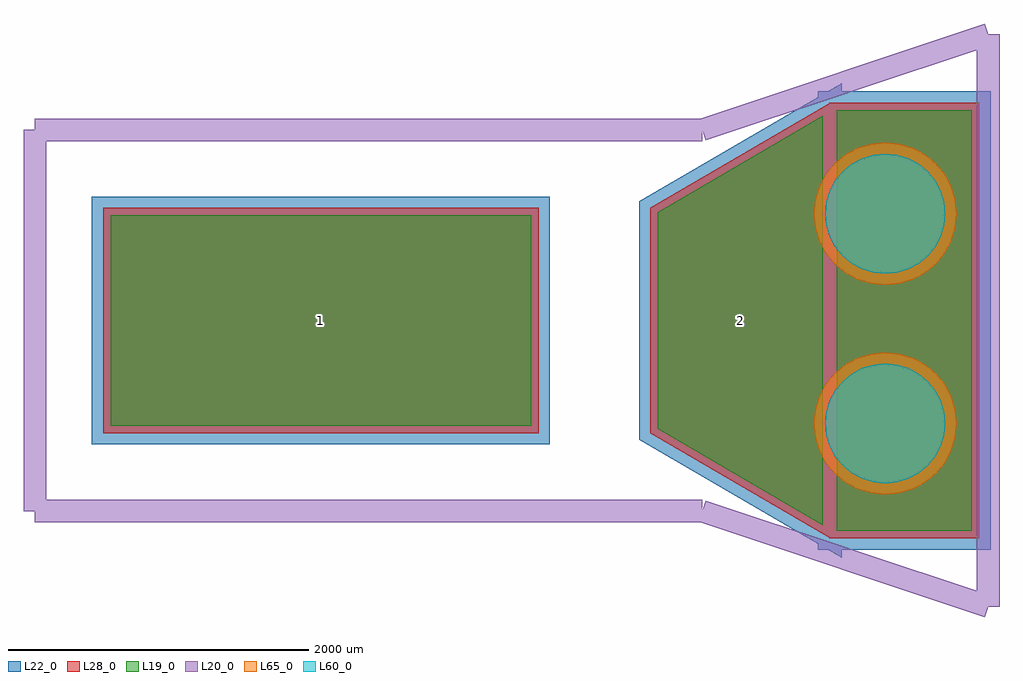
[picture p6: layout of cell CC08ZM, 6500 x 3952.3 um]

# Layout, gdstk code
import gdstk
lib = gdstk.Library(unit=1e-6, precision=1e-09)
def R(c, l, rs):  # rectangles x0, y0, x1, y1
    for r in rs: c.add(gdstk.rectangle(r[:2], r[2:], *l))
def P(c, l, *ps):  # polygons
    for p in ps: c.add(gdstk.Polygon(p, *l))
L19_0 = (19, 0)
L20_0 = (20, 0)
L22_0 = (22, 0)
L28_0 = (28, 0)
L60_0 = (60, 0)
L65_0 = (65, 0)

cc08zm = lib.new_cell('CC08ZM')
R(cc08zm, L19_0, [(895.82,-1400.34,1796.58,1400.34), (-3940.34,-700.57,-1139.66,700.57)])
P(cc08zm, L19_0, [(-295.44,-721.834),(-295.44,721.834),(803.44,1362.071),(803.44,-1362.071)])
R(cc08zm, L22_0, [(770.82,-1525.34,1921.58,1525.34), (-4065.34,-825.57,-1014.66,825.57)])
P(cc08zm, L22_0, [(1694.25,-685.8),(1685.122,-593.122),(1658.089,-504.006),(1614.19,-421.876),(1555.111,-349.889),(1483.124,-290.81),(1400.994,-246.911),(1311.878,-219.878),(1219.2,-210.75),(1126.522,-219.878),(1037.406,-246.911),(955.276,-290.81),(883.289,-349.889),(824.21,-421.876),(780.311,-504.006),(753.278,-593.122),(744.15,-685.8),(753.278,-778.478),(780.311,-867.594),(824.21,-949.724),(883.289,-1021.711),(955.276,-1080.79),(1037.406,-1124.689),(1126.522,-1151.722),(1219.2,-1160.85),(1311.878,-1151.722),(1400.994,-1124.689),(1483.124,-1080.79),(1555.111,-1021.711),(1614.19,-949.724),(1658.089,-867.594),(1685.122,-778.478)],
  [(1694.25,711.2),(1685.122,803.878),(1658.089,892.994),(1614.19,975.124),(1555.111,1047.111),(1483.124,1106.19),(1400.994,1150.089),(1311.878,1177.122),(1219.2,1186.25),(1126.522,1177.122),(1037.406,1150.089),(955.276,1106.19),(883.289,1047.111),(824.21,975.124),(780.311,892.994),(753.278,803.878),(744.15,711.2),(753.278,618.522),(780.311,529.406),(824.21,447.276),(883.289,375.289),(955.276,316.21),(1037.406,272.311),(1126.522,245.278),(1219.2,236.15),(1311.878,245.278),(1400.994,272.311),(1483.124,316.21),(1555.111,375.289),(1614.19,447.276),(1658.089,529.406),(1685.122,618.522)],
  [(-420.44,-793.674),(-420.44,793.674),(928.44,1579.568),(928.44,-1579.568)])
R(cc08zm, L28_0, [(845.82,-1450.34,1846.58,1450.34), (-3990.34,-750.57,-1089.66,750.57)])
P(cc08zm, L28_0, [(1619.25,-685.8),(1611.563,-607.754),(1588.798,-532.707),(1551.829,-463.544),(1502.078,-402.922),(1441.456,-353.171),(1372.293,-316.202),(1297.246,-293.437),(1219.2,-285.75),(1141.154,-293.437),(1066.107,-316.202),(996.944,-353.171),(936.322,-402.922),(886.571,-463.544),(849.602,-532.707),(826.837,-607.754),(819.15,-685.8),(826.837,-763.846),(849.602,-838.893),(886.571,-908.056),(936.322,-968.678),(996.944,-1018.429),(1066.107,-1055.398),(1141.154,-1078.163),(1219.2,-1085.85),(1297.246,-1078.163),(1372.293,-1055.398),(1441.456,-1018.429),(1502.078,-968.678),(1551.829,-908.056),(1588.798,-838.893),(1611.563,-763.846)],
  [(1619.25,711.2),(1611.563,789.246),(1588.798,864.293),(1551.829,933.456),(1502.078,994.078),(1441.456,1043.829),(1372.293,1080.798),(1297.246,1103.563),(1219.2,1111.25),(1141.154,1103.563),(1066.107,1080.798),(996.944,1043.829),(936.322,994.078),(886.571,933.456),(849.602,864.293),(826.837,789.246),(819.15,711.2),(826.837,633.154),(849.602,558.107),(886.571,488.944),(936.322,428.322),(996.944,378.571),(1066.107,341.602),(1141.154,318.837),(1219.2,311.15),(1297.246,318.837),(1372.293,341.602),(1441.456,378.571),(1502.078,428.322),(1551.829,488.944),(1588.798,558.107),(1611.563,633.154)],
  [(-345.44,-750.57),(-345.44,750.57),(853.44,1449.07),(853.44,-1449.07)])
P(cc08zm, L60_0, [(1619.25,-685.8),(1611.563,-607.754),(1588.798,-532.707),(1551.829,-463.544),(1502.078,-402.922),(1441.456,-353.171),(1372.293,-316.202),(1297.246,-293.437),(1219.2,-285.75),(1141.154,-293.437),(1066.107,-316.202),(996.944,-353.171),(936.322,-402.922),(886.571,-463.544),(849.602,-532.707),(826.837,-607.754),(819.15,-685.8),(826.837,-763.846),(849.602,-838.893),(886.571,-908.056),(936.322,-968.678),(996.944,-1018.429),(1066.107,-1055.398),(1141.154,-1078.163),(1219.2,-1085.85),(1297.246,-1078.163),(1372.293,-1055.398),(1441.456,-1018.429),(1502.078,-968.678),(1551.829,-908.056),(1588.798,-838.893),(1611.563,-763.846)],
  [(1619.25,711.2),(1611.563,789.246),(1588.798,864.293),(1551.829,933.456),(1502.078,994.078),(1441.456,1043.829),(1372.293,1080.798),(1297.246,1103.563),(1219.2,1111.25),(1141.154,1103.563),(1066.107,1080.798),(996.944,1043.829),(936.322,994.078),(886.571,933.456),(849.602,864.293),(826.837,789.246),(819.15,711.2),(826.837,633.154),(849.602,558.107),(886.571,488.944),(936.322,428.322),(996.944,378.571),(1066.107,341.602),(1141.154,318.837),(1219.2,311.15),(1297.246,318.837),(1372.293,341.602),(1441.456,378.571),(1502.078,428.322),(1551.829,488.944),(1588.798,558.107),(1611.563,633.154)])
P(cc08zm, L65_0, [(1694.25,-685.8),(1685.122,-593.122),(1658.089,-504.006),(1614.19,-421.876),(1555.111,-349.889),(1483.124,-290.81),(1400.994,-246.911),(1311.878,-219.878),(1219.2,-210.75),(1126.522,-219.878),(1037.406,-246.911),(955.276,-290.81),(883.289,-349.889),(824.21,-421.876),(780.311,-504.006),(753.278,-593.122),(744.15,-685.8),(753.278,-778.478),(780.311,-867.594),(824.21,-949.724),(883.289,-1021.711),(955.276,-1080.79),(1037.406,-1124.689),(1126.522,-1151.722),(1219.2,-1160.85),(1311.878,-1151.722),(1400.994,-1124.689),(1483.124,-1080.79),(1555.111,-1021.711),(1614.19,-949.724),(1658.089,-867.594),(1685.122,-778.478)],
  [(1694.25,711.2),(1685.122,803.878),(1658.089,892.994),(1614.19,975.124),(1555.111,1047.111),(1483.124,1106.19),(1400.994,1150.089),(1311.878,1177.122),(1219.2,1186.25),(1126.522,1177.122),(1037.406,1150.089),(955.276,1106.19),(883.289,1047.111),(824.21,975.124),(780.311,892.994),(753.278,803.878),(744.15,711.2),(753.278,618.522),(780.311,529.406),(824.21,447.276),(883.289,375.289),(955.276,316.21),(1037.406,272.311),(1126.522,245.278),(1219.2,236.15),(1311.878,245.278),(1400.994,272.311),(1483.124,316.21),(1555.111,375.289),(1614.19,447.276),(1658.089,529.406),(1685.122,618.522)])
cc08zm.add(gdstk.FlexPath([(-4445,1270),(0,1270)], 149.998, ends="flush", simple_path=True, layer=20, datatype=0))  # L20_0
cc08zm.add(gdstk.FlexPath([(-4445,-1270),(0,-1270)], 149.998, ends="flush", simple_path=True, layer=20, datatype=0))  # L20_0
cc08zm.add(gdstk.FlexPath([(1905,-1905),(0,-1270)], 149.998, ends="flush", simple_path=True, layer=20, datatype=0))  # L20_0
cc08zm.add(gdstk.FlexPath([(1905,1905),(1905,-1905)], 149.998, ends="flush", simple_path=True, layer=20, datatype=0))  # L20_0
cc08zm.add(gdstk.FlexPath([(0,1270),(1905,1905)], 149.998, ends="flush", simple_path=True, layer=20, datatype=0))  # L20_0
cc08zm.add(gdstk.FlexPath([(-4445,1270),(-4445,-1270)], 149.998, ends="flush", simple_path=True, layer=20, datatype=0))  # L20_0
cc08zm.add(gdstk.Label('2', (254,0), layer=28, texttype=0))
cc08zm.add(gdstk.Label('1', (-2540,0), layer=28, texttype=0))
cc08zm.add(gdstk.Label('type', (-762,-2921), layer=9, texttype=0))
cc08zm.add(gdstk.Label('devicename', (-1524,2413), layer=9, texttype=0))

lib.write_gds('CC08ZM.gds')
